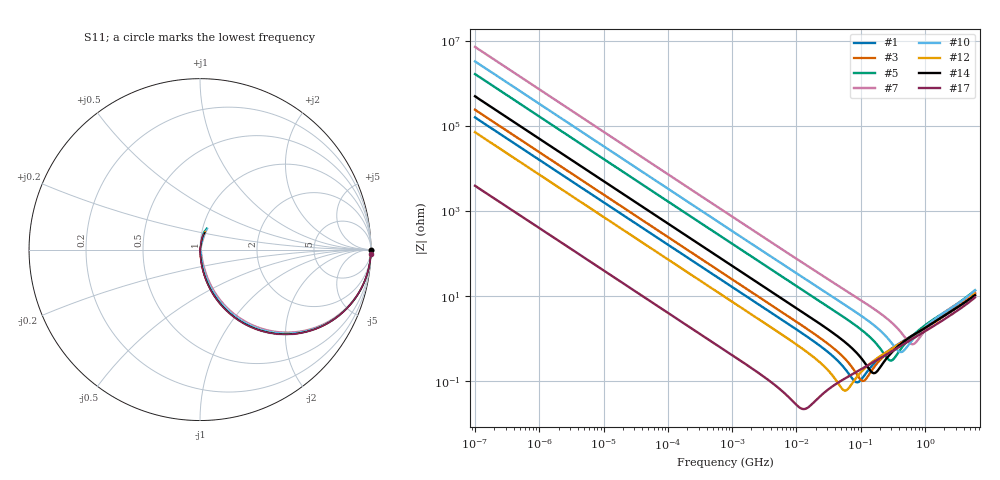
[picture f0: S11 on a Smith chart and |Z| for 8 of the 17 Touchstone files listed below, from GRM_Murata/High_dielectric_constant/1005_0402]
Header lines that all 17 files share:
!These Parameters are Measured in Series Mode Connection
!Data Generated on Mar 30, 2021
!  o--ll--o
!Port1  Port2
!  o------o
!Operation Temp=25[degC], DC Bias Voltage=0[V]
!Freq. Start=100[Hz] Stop=6[GHz] 401[Steps]
# Hz S RI R 50
!Freq.(Hz) S11(Real) S11(Imag) S21(Real) S21(Imag) S12(Real) S12(Imag) S22(Real) S22(Imag)
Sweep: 100 Hz to 6 GHz
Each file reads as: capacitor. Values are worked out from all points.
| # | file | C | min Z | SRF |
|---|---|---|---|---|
| 1 | GRM15XB11C103KA86.s2p | 10.1 nF | 94.3 mohm | 88.74 MHz |
| 2 | GRM15XB11C472KA86.s2p | 4.59 nF | 125 mohm | 130.5 MHz |
| 3 | GRM15XB11C682MA86.s2p | 6.65 nF | 102 mohm | 109.5 MHz |
| 4 | GRM15XB11E222KA86.s2p | 2.23 nF | 179 mohm | 191.4 MHz |
| 5 | GRM15XB11H102KA86.s2p | 967 pF | 306 mohm | 293.1 MHz |
| 6 | GRM15XB11H152MA86.s2p | 1.63 nF | 225 mohm | 233.8 MHz |
| 7 | GRM15XB11H221KA86.s2p | 222 pF | 737 mohm | 636.2 MHz |
| 8 | GRM15XB11H331MA86.s2p | 316 pF | 589 mohm | 539.8 MHz |
| 9 | GRM15XB11H681KA86.s2p | 656 pF | 380 mohm | 367.9 MHz |
| 10 | GRM15XR11H471KA86.s2p | 486 pF | 485 mohm | 421.4 MHz |
| 11 | GRM15XR61A153KA86.s2p | 15.3 nF | 82.2 mohm | 68.47 MHz |
| 12 | GRM15XR61A223KA86.s2p | 22.4 nF | 60.3 mohm | 58.03 MHz |
| 13 | GRM15XR61A333MA86.s2p | 32.5 nF | 48.4 mohm | 47.94 MHz |
| 14 | GRM15XR71C332KA86.s2p | 3.21 nF | 154 mohm | 162.1 MHz |
| 15 | GRM152B30J104KE19.s2p | 94.2 nF | 33.1 mohm | 30.24 MHz |
| 16 | GRM152B30J224ME19.s2p | 216 nF | 24 mohm | 19.3 MHz |
| 17 | GRM152B30J474ME15.s2p | 406 nF | 22.2 mohm | 13.3 MHz |
